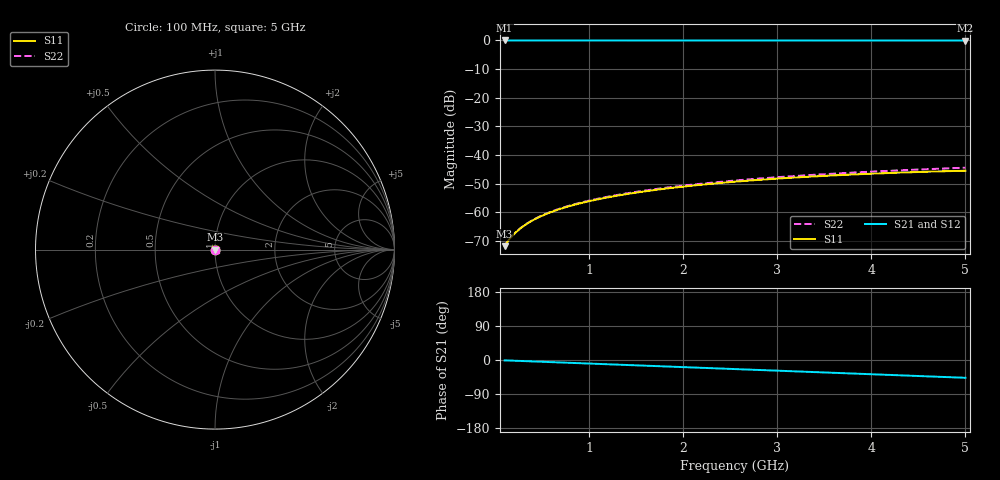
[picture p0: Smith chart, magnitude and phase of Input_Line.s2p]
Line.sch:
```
<Qucs Schematic 24.2.1>
<Properties>
  <View=154,-66,785,403,2.46705,0,296>
  <Grid=10,10,1>
  <DataSet=Line.dat>
  <DataDisplay=Line.dpl>
  <OpenDisplay=0>
  <Script=L1.m>
  <RunScript=0>
  <showFrame=0>
  <FrameText0=Title>
  <FrameText1=Drawn By:>
  <FrameText2=Date:>
  <FrameText3=Revision:>
</Properties>
<Symbol>
  <Line -20 -20 10 0 #000080 2 1>
  <.PortSym -20 -20 1 0>
  <Rectangle -10 -30 140 20 #000000 1 1 #ffaa00 1 1>
  <.ID -10 -66 Line>
  <.PortSym 140 -20 2 180>
  <Line 130 -20 10 0 #000080 2 1>
</Symbol>
<Components>
  <Port P1 1 340 150 -23 12 0 0 "1" 1 "analog" 0 "v" 0 "" 0>
  <Port P2 1 540 150 4 -48 0 2 "2" 1 "analog" 0 "v" 0 "" 0>
  <SPfile X1 1 430 150 -26 -56 0 0 "./EM/Refinement/Input_Line.s2p" 1 "rectangular" 0 "linear" 0 "open" 0 "2" 0>
  <GND * 1 430 180 0 0 0 0>
</Components>
<Wires>
  <460 150 540 150 "" 0 0 0 "">
  <340 150 400 150 "" 0 0 0 "">
</Wires>
<Diagrams>
</Diagrams>
<Paintings>
</Paintings>
```
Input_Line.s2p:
! Sonnet Data File
! From: sonnet Version : 18.53-Lite
! From Emgraph Data:
! Data File Written: 04/08/2024 17:20:33
!< HDATE 04/08/2024 17:19:59
!< MDATE 04/08/2024 17:19:59
# GHZ S MA R 50.00000
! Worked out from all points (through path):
!   246 points, 100 MHz to 5 GHz, reference 50 ohm
!   highest |S21| = 0.00 dB at 100 MHz (marker M1); lowest = 0.0 dB at 5 GHz (marker M2)
!   group delay of S21, straight-line fit = 26.1 ps
!   lowest |S11| = -71.8 dB at 100 MHz (marker M3), VSWR 1.00, Z = 50 + j0.0238 ohm
!   |S11| at or under -10 dB: start of sweep to end of sweep
!   |S22| runs from -71.7 to -44.4 dB; largest |S21 - S12| = 1e-13
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0.1  0.0002585 66.9  0.9999 -0.9  0.9999 -0.9  0.0002595 66.3
0.2  0.0004202 71.9  0.9998 -1.9  0.9998 -1.9  0.0004231 70.3
0.36  0.0006699 74.6  0.9997 -3.4  0.9997 -3.4  0.0006777 71.5
0.56  0.0009665 75.8  0.9996 -5.3  0.9996 -5.3  0.0009827 70.8
0.8  0.001304 76.4  0.9995 -7.5  0.9995 -7.5  0.001333 68.8
1.14  0.00176 76.8  0.9994 -10.7  0.9994 -10.7  0.001809 65.3
1.54  0.002271 76.6  0.9992 -14.5  0.9992 -14.5  0.002346 60.5
2.02  0.002852 75.9  0.999 -19.0  0.999 -19.0  0.002963 54.0
2.56  0.003453 74.6  0.9988 -24.0  0.9988 -24.0  0.00362 45.9
3.7  0.004514 72.0  0.9983 -34.7  0.9983 -34.7  0.00486 27.6
5  0.005354 69.9  0.9976 -47.0  0.9976 -47.0  0.006037 4.8
